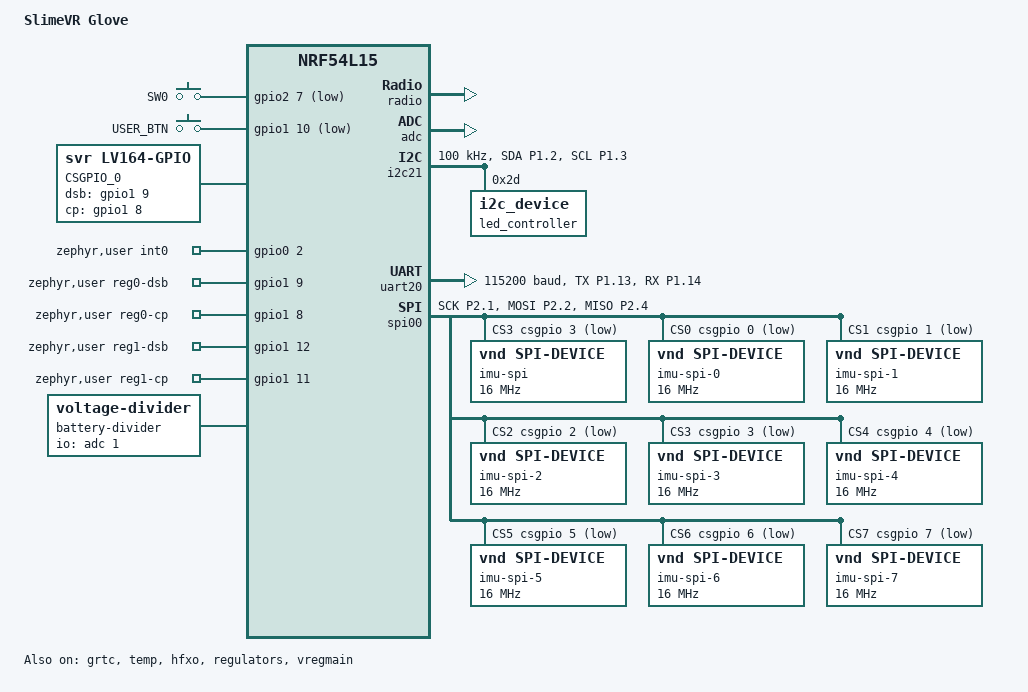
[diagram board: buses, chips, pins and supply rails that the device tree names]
/dts-v1/;
#include <nordic/nrf54l15_cpuapp.dtsi>
#include "slimevrglove-pinctrl.dtsi"

&pinctrl {
	/omit-if-no-ref/ spi00_default: spi00_default {
		group1 {
			psels = <NRF_PSEL(SPIM_SCK, 2, 1)>,
				<NRF_PSEL(SPIM_MOSI, 2, 2)>;
			nordic,drive-mode = <NRF_DRIVE_E0E1>;
		};

		group2 {
			psels = <NRF_PSEL(SPIM_MISO, 2, 4)>;
			bias-pull-up;
		};
	};

	/omit-if-no-ref/ spi00_sleep: spi00_sleep {
		group1 {
			psels = <NRF_PSEL(SPIM_SCK, 2, 1)>,
				<NRF_PSEL(SPIM_MOSI, 2, 2)>,
				<NRF_PSEL(SPIM_MISO, 2, 4)>;
			low-power-enable;
		};
	};

	/omit-if-no-ref/ uart20_default: uart20_default {
		group1 {
			psels = <NRF_PSEL(UART_TX, 1, 13)>;
		};

		group2 {
			psels = <NRF_PSEL(UART_RX, 1, 14)>;
			bias-pull-up;
		};
	};

	/omit-if-no-ref/ uart20_sleep: uart20_sleep {
		group1 {
			psels = <NRF_PSEL(UART_TX, 1, 13)>,
				<NRF_PSEL(UART_RX, 1, 14)>;
			low-power-enable;
		};
	};

	i2c21_default: i2c21_default {
		group1 {
			psels = <NRF_PSEL(TWIM_SDA, 1, 2)>,
				<NRF_PSEL(TWIM_SCL, 1, 3)>;
			bias-pull-up;
		};
	};

	i2c21_sleep: i2c21_sleep {
		group1 {
			psels = <NRF_PSEL(TWIM_SDA, 1, 2)>,
				<NRF_PSEL(TWIM_SCL, 1, 3)>;
			low-power-enable;
		};
	};
};

/ {
	model = "SlimeVR Glove";
	compatible = "nighty-electronics,slimevrglove-cpuapp";

	buttons {
		compatible = "gpio-keys";

		button0: button_0 {
			gpios = <&gpio2 7 (GPIO_PULL_UP | GPIO_ACTIVE_LOW)>;
			label = "SW0";
		};

		button1: button_1 {
			gpios = <&gpio1 10 (GPIO_PULL_UP | GPIO_ACTIVE_LOW)>;
			label = "USER_BTN";
		};
	};

	csgpio: csgpio {
		compatible = "svr,lv164-gpio";
		label = "CSGPIO_0";
		gpio-controller;
		#gpio-cells = <2>;
		dsb-gpios = <&gpio1 9 (GPIO_PULL_DOWN | GPIO_ACTIVE_HIGH)>;
		cp-gpios = <&gpio1 8 (GPIO_PULL_DOWN | GPIO_ACTIVE_HIGH)>;
		num-outputs = <8>;
	};

	zephyr,user {
		int0-gpios = <&gpio0 2 0>;
		reg0-dsb-gpios = <&gpio1 9 (GPIO_PULL_DOWN | GPIO_ACTIVE_HIGH)>;
		reg0-cp-gpios = <&gpio1 8 (GPIO_PULL_DOWN | GPIO_ACTIVE_HIGH)>;
		reg1-dsb-gpios = <&gpio1 12 (GPIO_PULL_DOWN | GPIO_ACTIVE_HIGH)>;
		reg1-cp-gpios = <&gpio1 11 (GPIO_PULL_DOWN | GPIO_ACTIVE_HIGH)>;
		multiple-imus = <1>;
	};

	battery-divider {
		compatible = "voltage-divider";
		status = "okay";
		io-channels = <&adc 1>; // Measure VDDHDIV5
		output-ohms = <1>;
		full-ohms = <2>;
	};

	aliases {
		sw0 = &button0;
		sw1 = &button1;
	};

	chosen {
		zephyr,code-partition = &slot0_partition;
		zephyr,sram = &cpuapp_sram;
		zephyr,flash = &cpuapp_rram;
		zephyr,flash-controller = &rram_controller;
		zephyr,console = &uart20;
		zephyr,shell-uart = &uart20;
		zephyr,uart-mcumgr = &uart20;
		zephyr,bt-mon-uart = &uart20;
		zephyr,bt-c2h-uart = &uart20;
	};


};

&radio {
	status = "okay";
};

&grtc {
	owned-channels = <0 1 2 3 4 5 6 7 8 9 10 11>;
	/* Channels 7-11 reserved for Zero Latency IRQs, 3-4 for FLPR */
	child-owned-channels = <3 4 7 8 9 10 11>;
	status = "okay";
};

&adc {
	status = "okay";
};

&clock {
	status = "okay";
};

&temp {
	status = "okay";
};

&cpuapp_sram {
	status = "okay";
};

&i2c21 {
	status = "okay";
	pinctrl-0 = <&i2c21_default>;
	pinctrl-1 = <&i2c21_sleep>;
	pinctrl-names = "default", "sleep";
	clock-frequency = <I2C_BITRATE_STANDARD>;

	led_controller: led_controller@2d {
		compatible = "i2c_device";
		reg = <0x2d>;
		label = "led_controller";
	};
};

&hfxo {
	status = "okay";
	clock-frequency = <DT_FREQ_M(32)>;
	load-capacitors = "internal";
	load-capacitance-femtofarad = <15000>;
};

&regulators {
	status = "okay";
};

&vregmain {
	status = "okay";
	regulator-initial-mode = <NRF5X_REG_MODE_DCDC>;
};

&uicr {
	nfct-pins-as-gpios;
};

&nfct {
	status = "disabled";
};

&gpio0 {
	status = "okay";
};

&gpio1 {
	status = "okay";
};

&gpio2 {
	status = "okay";
};

&gpiote20 {
	status = "okay";
};

&gpiote30 {
	status = "okay";
};

&radio {
	status = "okay";
};

&uart20 {
	status = "okay";
	pinctrl-0 = <&uart20_default>;
	pinctrl-1 = <&uart20_sleep>;
	pinctrl-names = "default", "sleep";
	current-speed = <115200>;
};

&uart21 {
	status = "disabled";
};

&spi00 {

	status = "okay";
	compatible = "nordic,nrf-spim";
	pinctrl-0 = <&spi00_default>;
	pinctrl-1 = <&spi00_sleep>;
	pinctrl-names = "default", "sleep";

	cs-gpios = <&csgpio 0 GPIO_ACTIVE_LOW>,
		   <&csgpio 1 GPIO_ACTIVE_LOW>,
		   <&csgpio 2 GPIO_ACTIVE_LOW>,
		   <&csgpio 3 GPIO_ACTIVE_LOW>,
		   <&csgpio 4 GPIO_ACTIVE_LOW>,
		   <&csgpio 5 GPIO_ACTIVE_LOW>,
		   <&csgpio 6 GPIO_ACTIVE_LOW>,
		   <&csgpio 7 GPIO_ACTIVE_LOW>;

	imu_spi: imu_spi@3 {
		status = "okay";
		compatible = "vnd,spi-device";
		label = "imu-spi";
		reg = <3>;
		spi-max-frequency = <DT_FREQ_M(16)>;
	};

	imu_spi_0: imu_spi_0@0 {
		status = "okay";
		compatible = "vnd,spi-device";
		label = "imu-spi-0";
		reg = <0>;
		spi-max-frequency = <DT_FREQ_M(16)>;
	};

	imu_spi_1: imu_spi_1@1 {
		status = "okay";
		compatible = "vnd,spi-device";
		label = "imu-spi-1";
		reg = <1>;
		spi-max-frequency = <DT_FREQ_M(16)>;
	};

	imu_spi_2: imu_spi_2@2 {
		status = "okay";
		compatible = "vnd,spi-device";
		label = "imu-spi-2";
		reg = <2>;
		spi-max-frequency = <DT_FREQ_M(16)>;
	};

	imu_spi_3: imu_spi_3@3 {
		status = "okay";
		compatible = "vnd,spi-device";
		label = "imu-spi-3";
		reg = <3>;
		spi-max-frequency = <DT_FREQ_M(16)>;
	};

	imu_spi_4: imu_spi_4@4 {
		status = "okay";
		compatible = "vnd,spi-device";
		label = "imu-spi-4";
		reg = <4>;
		spi-max-frequency = <DT_FREQ_M(16)>;
	};

	imu_spi_5: imu_spi_5@5 {
		status = "okay";
		compatible = "vnd,spi-device";
		label = "imu-spi-5";
		reg = <5>;
		spi-max-frequency = <DT_FREQ_M(16)>;
	};

	imu_spi_6: imu_spi_6@6 {
		status = "okay";
		compatible = "vnd,spi-device";
		label = "imu-spi-6";
		reg = <6>;
		spi-max-frequency = <DT_FREQ_M(16)>;
	};

	imu_spi_7: imu_spi_7@7 {
		status = "okay";
		compatible = "vnd,spi-device";
		label = "imu-spi-7";
		reg = <7>;
		spi-max-frequency = <DT_FREQ_M(16)>;
	};
};
#include <nordic/nrf54l15_partition.dtsi>
